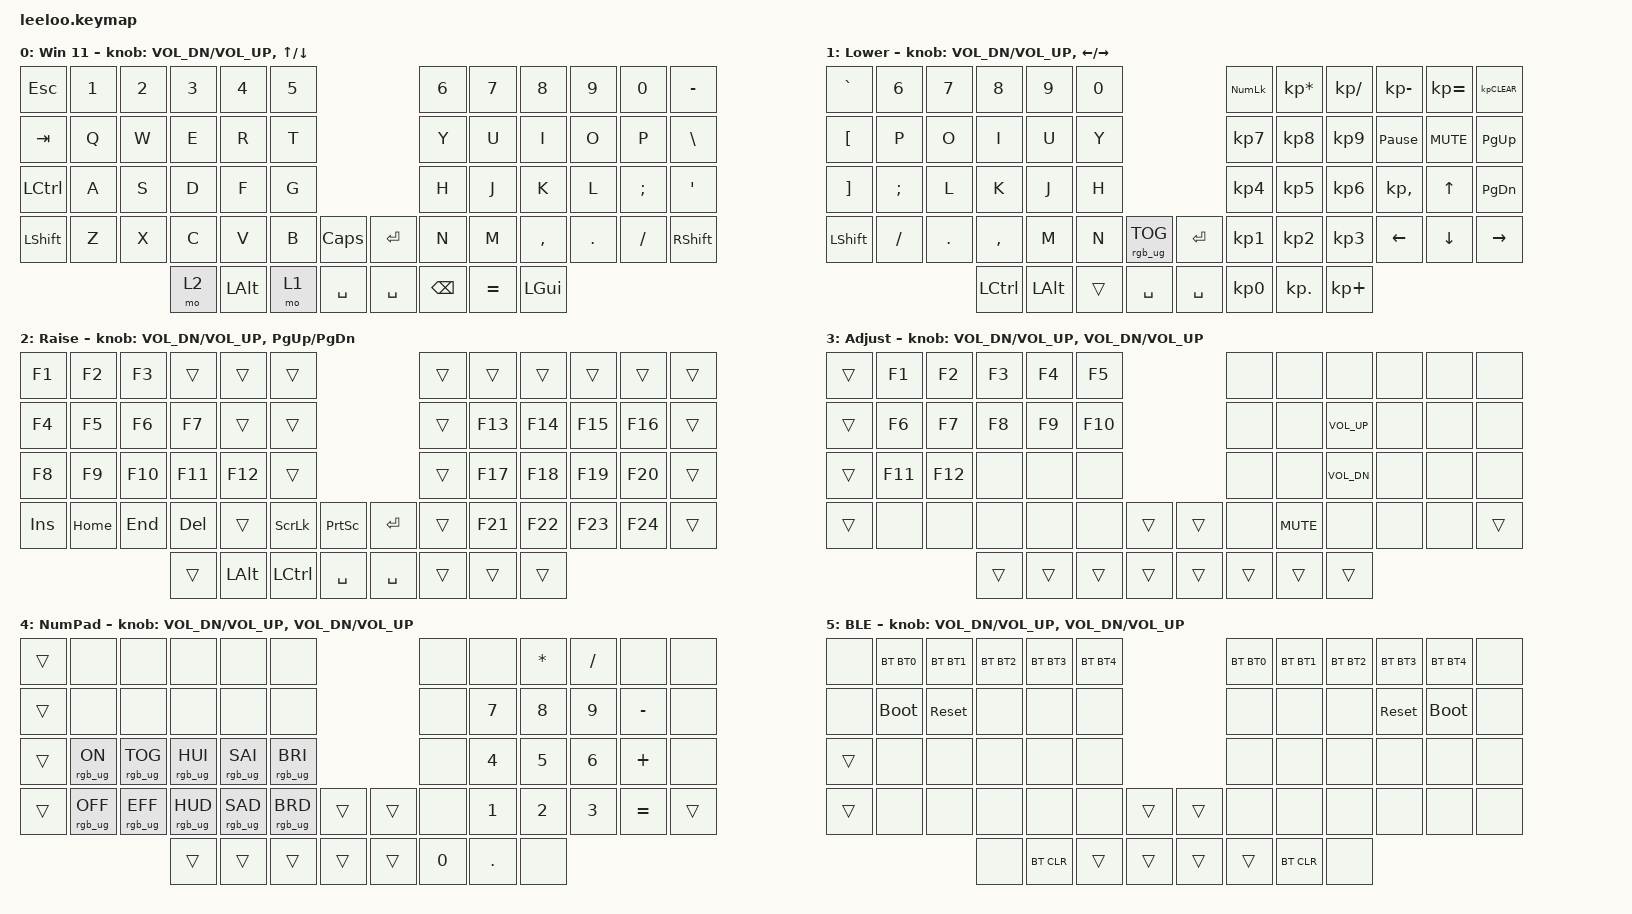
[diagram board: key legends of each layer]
/*
 * Copyright (c) 2023 The ZMK Contributors
 *
 * SPDX-License-Identifier: MIT
 */
#include <behaviors.dtsi>
#include <dt-bindings/zmk/outputs.h>
#include <dt-bindings/zmk/keys.h>
#include <dt-bindings/zmk/bt.h>
#include <dt-bindings/zmk/rgb.h>

// Layers
#define QW_M    0       // Main
#define QW_L    1       // Lower
#define QW_R    2       // Raise
#define QW_A    3       // Adjust

#define QC_N    4       // Number Pad
#define QC_F    5       // Firmware


// Short versions
#define WIN_SC  LG(LS(S))

#define BT0     BT_SEL 0
#define BT1     BT_SEL 1
#define BT2     BT_SEL 2
#define BT3     BT_SEL 3
#define BT4     BT_SEL 4

#define BOOTLDR     &bootloader

#define VOLUP   C_VOL_UP
#define VOLDN   C_VOL_DN
#define VOLMT   C_MUTE

#define RGBON   &rgb_ug RGB_ON
#define RGBOFF  &rgb_ug RGB_OFF
#define RGBTOG  &rgb_ug RGB_TOG
#define RGBHUI  &rgb_ug RGB_HUI
#define RGBHUD  &rgb_ug RGB_HUD
#define RGBSAI  &rgb_ug RGB_SAI
#define RGBSAD  &rgb_ug RGB_SAD
#define RGBBRI  &rgb_ug RGB_BRI
#define RGBBRD  &rgb_ug RGB_BRD
#define RGBEFF  &rgb_ug RGB_EFF


/*
 * Assign the cs-gpios pin to 4.
 * Uncomment these next few lines if implementing nice!view Displays
 */
nice_view_spi: &spi0 {
    cs-gpios = <&pro_micro 4 GPIO_ACTIVE_HIGH>;
};


/ {
    conditional_layers {
        compatible = "zmk,conditional-layers";
        adjust_win_layer {
            if-layers = <1 2>;
            then-layer = <3>;
        };
    };


/*    combos {
 *       compatible = "zmk,combos";

 *       combo_quit_app_win {
 *           timeout-ms = <50>;
 *           key-positions = <13 14>;
 *           layers = <QW_M>;
 *           bindings = <&kp LA(F4)>;
 *       };
 *   };
*/
    macros {
        enDSH_W: en_Dash {
            compatible = "zmk,behavior-macro";
            #binding-cells = <0>;
            wait-ms = <20>;
            tap-ms = <20>;
            bindings
                = <&macro_press   &kp LALT>
                , <&macro_tap     &kp KP_N0 &kp KP_N1 &kp KP_N5 &kp KP_N0>
                , <&macro_release &kp LALT>
                ;
        };

        emDSH_W: em_Dash {
            compatible = "zmk,behavior-macro";
            #binding-cells = <0>;
            wait-ms = <20>;
            tap-ms = <20>;
            bindings
                = <&macro_press   &kp LALT>
                , <&macro_tap     &kp KP_N0 &kp KP_N1 &kp KP_N5 &kp KP_N1>
                , <&macro_release &kp LALT>
                ;
        };
    };

    behaviors {
        tdw_Q: tap_dance_1 {
            compatible = "zmk,behavior-tap-dance";
            #binding-cells = <0>;
            tapping-term-ms = <200>;
            bindings = <&kp Q>, <&kp LA(F4)>;
        };

        tdw_LRP: tap_dance_2 {
            compatible = "zmk,behavior-tap-dance";
            #binding-cells = <0>;
            tapping-term-ms = <200>;
            bindings = <&kp LPAR>, <&kp RPAR>;
        };

        tdx_LRB: tap_dance_3 {
            compatible = "zmk,behavior-tap-dance";
            #binding-cells = <0>;
            tapping-term-ms = <200>;
            bindings = <&kp LBKT>, <&kp RBKT>;
        };

        tdx_LRR: tap_dance_4 {
            compatible = "zmk,behavior-tap-dance";
            #binding-cells = <0>;
            tapping-term-ms = <200>;
            bindings = <&kp LBRC>, <&kp RBRC>;
        };

        tdx_LRA: tap_dance_5 {
            compatible = "zmk,behavior-tap-dance";
            #binding-cells = <0>;
            tapping-term-ms = <200>;
            bindings = <&kp LT>, <&kp GT>;
        };
    };

    keymap {
        compatible = "zmk,keymap";

        default_win_layer {
            display-name = "Win 11";
            bindings = <
&kp ESC    &kp N1     &kp N2     &kp N3     &kp N4     &kp N5                           &kp N6     &kp N7     &kp N8     &kp N9     &kp N0     &kp MINUS
&kp TAB    &kp Q     &kp W      &kp E      &kp R      &kp T                            &kp Y      &kp U      &kp I      &kp O      &kp P      &kp BSLH
&kp LCTRL   &kp A      &kp S      &kp D      &kp F      &kp G                            &kp H      &kp J      &kp K      &kp L      &kp SEMI   &kp SQT
&kp LSHFT  &kp Z      &kp X      &kp C      &kp V      &kp B    &kp CAPS    &kp RET    &kp N      &kp M      &kp COMMA  &kp DOT    &kp FSLH   &kp RSHFT
                              &mo 2 &kp LALT  &mo 1  &kp SPACE    &kp SPACE &kp BSPC  &kp EQUAL &kp LGUI
            >;

            sensor-bindings = <&inc_dec_kp C_VOL_DN C_VOL_UP &inc_dec_kp UP DOWN>;
        };

        lower_win_layer {
            display-name = "Lower";
            bindings = <
&kp GRAVE     &kp N6     &kp N7     &kp N8     &kp N9     &kp N0                           &kp KP_NUMLOCK     &kp KP_MULTIPLY     &kp KP_DIVIDE     &kp KP_MINUS     &kp KP_EQUAL     &kp KP_CLEAR
&kp LBKT     &kp P     &kp O     &kp I     &kp U     &kp Y                           &kp KP_N7     &kp KP_N8     &kp KP_N9     &kp PAUSE_BREAK     &kp C_MUTE     &kp PG_UP
&kp RBKT     &kp SEMI   &kp L   &kp K   &kp J   &kp H                           &kp KP_N4     &kp KP_N5     &kp KP_N6     &kp KP_COMMA     &kp UP     &kp PG_DN
&kp LSHFT     &kp FSLH     &kp DOT     &kp COMMA     &kp M     &kp N     &rgb_ug RGB_TOG      &kp RET    &kp KP_N1   &kp KP_N2   &kp KP_N3     &kp LEFT     &kp DOWN     &kp RIGHT
                                 &kp LCTRL     &kp LALT     &trans     &kp SPACE      &kp SPACE    &kp KP_N0     &kp KP_DOT     &kp KP_PLUS
            >;

            sensor-bindings = <&inc_dec_kp C_VOL_DN C_VOL_UP &inc_dec_kp LEFT RIGHT>;
        };

        raise_win_layer {
            display-name = "Raise";
            bindings = <
&kp F1     &kp F2     &kp F3     &trans     &trans &trans                           &trans     &trans     &trans     &trans     &trans     &trans
&kp F4     &kp F5     &kp F6     &kp F7     &trans     &trans                           &trans  &kp F13   &kp F14     &kp F15    &kp F16     &trans
&kp F8     &kp F9     &kp F10     &kp F11     &kp F12     &trans                           &trans  &kp F17   &kp F18   &kp F19  &kp F20     &trans
&kp INS     &kp HOME     &kp END     &kp DEL     &trans     &kp SLCK     &kp PSCRN      &kp RET    &trans     &kp F21     &kp F22     &kp F23     &kp F24     &trans
                                 &trans     &kp LALT     &kp LCTRL     &kp SPACE      &kp SPACE    &trans     &trans    &trans
            >;

            sensor-bindings = <&inc_dec_kp C_VOL_DN C_VOL_UP &inc_dec_kp PG_UP PG_DN>;
        };

        adjust_win_layer {
            display-name = "Adjust";
            bindings = <
&trans     &kp F1     &kp F2     &kp F3     &kp F4     &kp F5                           &none      &none      &none      &none      &none      &none
&trans     &kp F6     &kp F7     &kp F8     &kp F9     &kp F10                          &none      &none      &kp VOLUP  &none      &none      &none
&trans     &kp F11    &kp F12    &none      &none      &none                            &none      &none      &kp VOLDN  &none      &none      &none 
&trans     &none      &none      &none      &none      &none      &trans      &trans    &none      &kp VOLMT  &none      &none      &none      &trans
                                 &trans     &trans     &trans     &trans      &trans    &trans     &trans     &trans
            >;

            sensor-bindings = <&inc_dec_kp C_VOL_DN C_VOL_UP &inc_dec_kp C_VOL_DN C_VOL_UP>;
        };

        numpad_layer {
            display-name = "NumPad";
            bindings = <
&trans      &none     &none      &none      &none      &none                            &none      &none      &kp ASTRK  &kp SLASH  &none      &none 
&trans      &none     &none      &none      &none      &none                            &none      &kp N7     &kp N8     &kp N9     &kp MINUS  &none 
&trans      RGBON     RGBTOG     RGBHUI     RGBSAI     RGBBRI                           &none      &kp N4     &kp N5     &kp N6     &kp PLUS   &none 
&trans      RGBOFF    RGBEFF     RGBHUD     RGBSAD     RGBBRD     &trans      &trans    &none      &kp N1     &kp N2     &kp N3     &kp EQUAL  &trans
                                 &trans     &trans     &trans     &trans      &trans    &kp N0     &kp DOT    &none 
            >;

            sensor-bindings = <&inc_dec_kp C_VOL_DN C_VOL_UP &inc_dec_kp C_VOL_DN C_VOL_UP>;
        };

        firmware_layer {
            display-name = "BLE";
            bindings = <
&none       &bt BT0   &bt BT1    &bt BT2    &bt BT3    &bt BT4                          &bt BT0    &bt BT1    &bt BT2    &bt BT3    &bt BT4    &none 
&none       BOOTLDR   &sys_reset &none      &none      &none                            &none      &none      &none      &sys_reset BOOTLDR    &none
&trans      &none     &none      &none      &none      &none                            &none      &none      &none      &none      &none      &none
&trans      &none     &none      &none      &none      &none      &trans      &trans    &none      &none      &none      &none      &none      &none
                                 &none      &bt BT_CLR &trans     &trans      &trans    &trans     &bt BT_CLR &none 
            >;

            sensor-bindings = <&inc_dec_kp C_VOL_DN C_VOL_UP &inc_dec_kp C_VOL_DN C_VOL_UP>;
        };
    };
};
